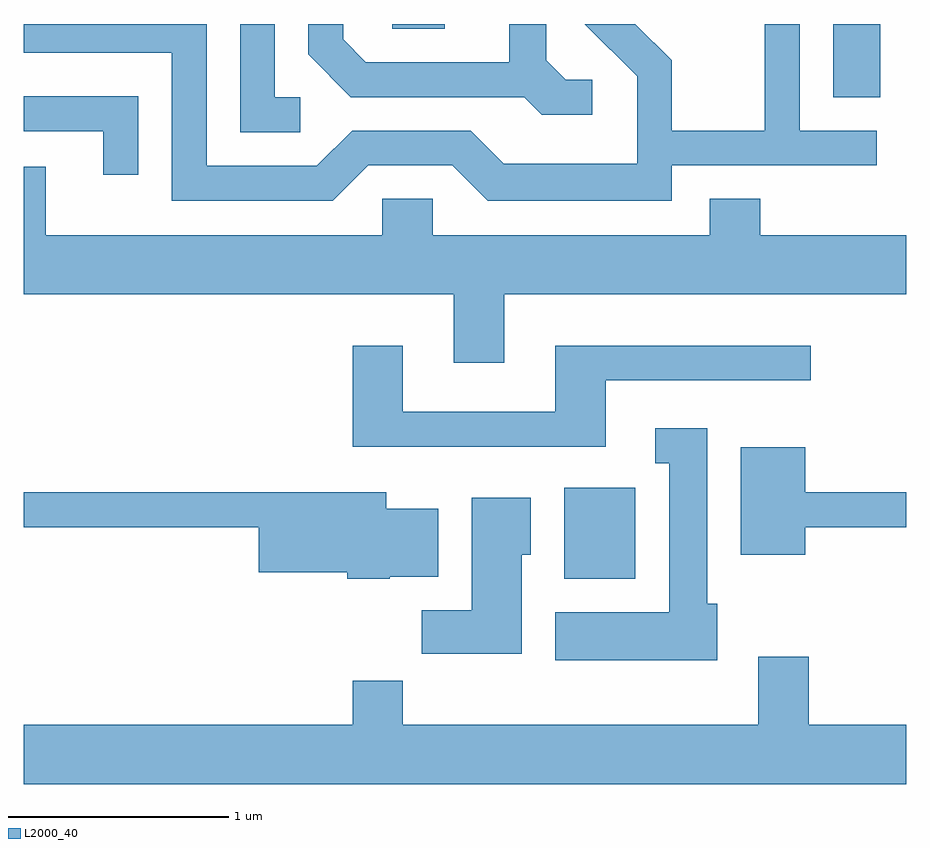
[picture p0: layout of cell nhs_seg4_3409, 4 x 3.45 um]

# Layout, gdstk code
import gdstk
lib = gdstk.Library(unit=1e-6, precision=1e-09)
def R(c, l, rs):  # rectangles x0, y0, x1, y1
    for r in rs: c.add(gdstk.rectangle(r[:2], r[2:], *l))
def P(c, l, *ps):  # polygons
    for p in ps: c.add(gdstk.Polygon(p, *l))
L2000_40 = (2000, 40)

nhs_seg4_3409 = lib.new_cell('nhs_seg4_3409')
R(nhs_seg4_3409, L2000_40, [(288.061,1273.466,288.384,1273.879), (289.281,1275.651,289.494,1275.982), (287.281,1275.961,287.519,1275.982)])
P(nhs_seg4_3409, L2000_40, [(286.863,1275.649),(286.749,1275.649),(286.749,1275.982),(286.591,1275.982),(286.591,1275.491),(286.863,1275.491)],
  [(288.188,1275.729),(288.067,1275.729),(287.979,1275.817),(287.979,1275.982),(287.811,1275.982),(287.811,1275.809),(287.162,1275.809),(287.059,1275.912),(287.059,1275.982),(286.901,1275.982),(286.901,1275.844),(287.094,1275.651),(287.879,1275.651),(287.959,1275.571),(288.188,1275.571)],
  [(287.172,1275.341),(287.554,1275.341),(287.714,1275.181),(288.549,1275.181),(288.549,1275.341),(289.478,1275.341),(289.478,1275.499),(289.129,1275.499),(289.129,1275.982),(288.971,1275.982),(288.971,1275.499),(288.549,1275.499),(288.549,1275.817),(288.384,1275.982),(288.153,1275.982),(288.391,1275.744),(288.391,1275.349),(287.787,1275.349),(287.637,1275.499),(287.099,1275.499),(286.939,1275.339),(286.439,1275.339),(286.439,1275.982),(285.611,1275.982),(285.611,1275.851),(286.281,1275.851),(286.281,1275.181),(287.012,1275.181)],
  [(286.129,1275.654),(285.611,1275.654),(285.611,1275.496),(285.971,1275.496),(285.971,1275.298),(286.129,1275.298)],
  [(289.611,1275.024),(288.949,1275.024),(288.949,1275.189),(288.721,1275.189),(288.721,1275.024),(287.464,1275.024),(287.464,1275.189),(287.236,1275.189),(287.236,1275.024),(285.709,1275.024),(285.709,1275.334),(285.611,1275.334),(285.611,1274.756),(287.561,1274.756),(287.561,1274.446),(287.789,1274.446),(287.789,1274.756),(289.611,1274.756)],
  [(288.249,1274.366),(289.178,1274.366),(289.178,1274.524),(288.021,1274.524),(288.021,1274.224),(287.329,1274.224),(287.329,1274.524),(287.101,1274.524),(287.101,1274.066),(288.249,1274.066)],
  [(288.754,1273.354),(288.709,1273.354),(288.709,1274.149),(288.473,1274.149),(288.473,1273.991),(288.536,1273.991),(288.536,1273.314),(288.021,1273.314),(288.021,1273.096),(288.754,1273.096)],
  [(289.154,1273.701),(289.611,1273.701),(289.611,1273.859),(289.154,1273.859),(289.154,1274.064),(288.861,1274.064),(288.861,1273.576),(289.154,1273.576)],
  [(287.27,1273.476),(287.489,1273.476),(287.489,1273.784),(287.254,1273.784),(287.254,1273.859),(285.611,1273.859),(285.611,1273.701),(286.676,1273.701),(286.676,1273.496),(287.076,1273.496),(287.076,1273.466),(287.27,1273.466)],
  [(287.869,1273.576),(287.909,1273.576),(287.909,1273.834),(287.641,1273.834),(287.641,1273.324),(287.416,1273.324),(287.416,1273.126),(287.869,1273.126)],
  [(289.611,1272.804),(289.169,1272.804),(289.169,1273.114),(288.941,1273.114),(288.941,1272.804),(287.329,1272.804),(287.329,1273.004),(287.101,1273.004),(287.101,1272.804),(285.611,1272.804),(285.611,1272.536),(289.611,1272.536)])

lib.write_gds('nhs_seg4_3409.gds')
